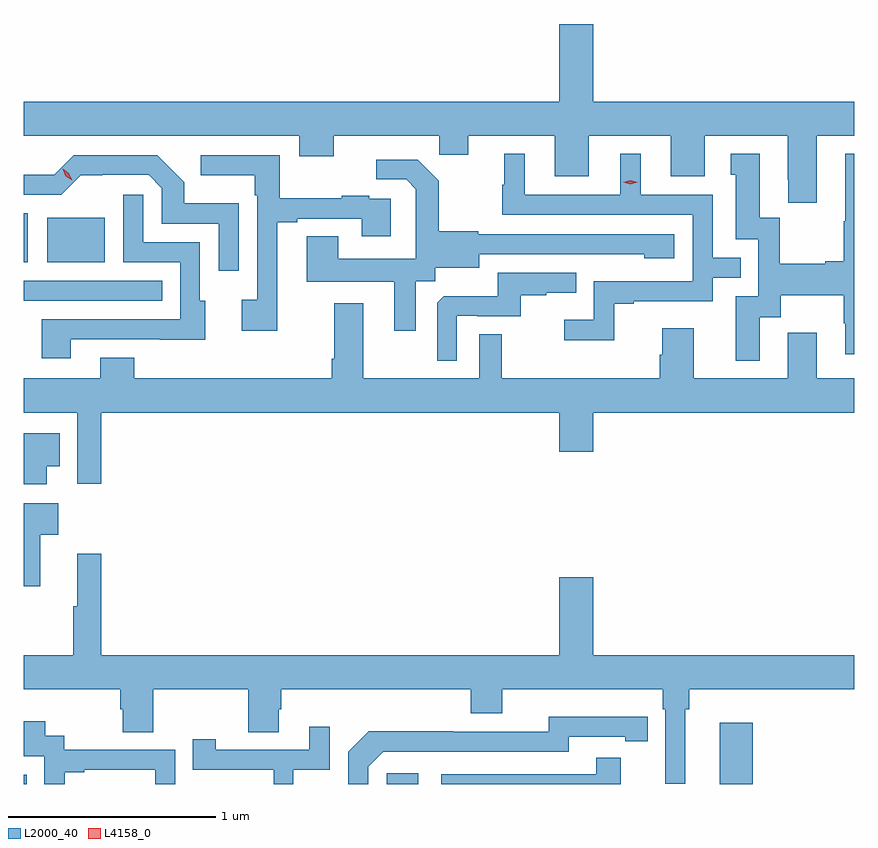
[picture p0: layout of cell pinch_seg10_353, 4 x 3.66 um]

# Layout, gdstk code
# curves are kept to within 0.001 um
import gdstk
lib = gdstk.Library(unit=1e-6, precision=1e-09)
def R(c, l, rs):  # rectangles x0, y0, x1, y1
    for r in rs: c.add(gdstk.rectangle(r[:2], r[2:], *l))
def P(c, l, *ps):  # polygons
    for p in ps: c.add(gdstk.Polygon(p, *l))
L2000_40 = (2000, 40)
L4158_0 = (4158, 0)

pinch_seg10_353 = lib.new_cell('pinch_seg10_353')
R(pinch_seg10_353, L2000_40, [(641.949,1273.219,641.963,1273.263), (643.698,1273.219,643.849,1273.27), (645.302,1273.219,645.461,1273.513), (641.949,1275.546,642.617,1275.642), (641.949,1275.731,641.968,1275.967), (642.062,1275.731,642.34,1275.946)])
P(pinch_seg10_353, L2000_40, [(645.769,1276.34),(645.949,1276.34),(645.949,1276.504),(644.692,1276.504),(644.692,1276.879),(644.528,1276.879),(644.528,1276.504),(641.949,1276.504),(641.949,1276.34),(643.277,1276.34),(643.277,1276.241),(643.441,1276.241),(643.441,1276.34),(643.951,1276.34),(643.951,1276.25),(644.089,1276.25),(644.089,1276.34),(644.507,1276.34),(644.507,1276.146),(644.671,1276.146),(644.671,1276.34),(645.065,1276.34),(645.065,1276.146),(645.229,1276.146),(645.229,1276.34),(645.629,1276.34),(645.629,1276.129),(645.632,1276.129),(645.632,1276.017),(645.769,1276.017)],
  [(644.793,1275.531),(644.887,1275.531),(644.887,1275.543),(645.267,1275.543),(645.267,1275.657),(645.401,1275.657),(645.401,1275.753),(645.267,1275.753),(645.267,1276.056),(644.92,1276.056),(644.92,1276.255),(644.822,1276.255),(644.822,1276.056),(644.362,1276.056),(644.362,1276.255),(644.264,1276.255),(644.264,1276.104),(644.253,1276.104),(644.253,1275.96),(645.171,1275.96),(645.171,1275.639),(644.694,1275.639),(644.694,1275.454),(644.553,1275.454),(644.553,1275.356),(644.793,1275.356)],
  [(645.493,1275.466),(645.595,1275.466),(645.595,1275.572),(645.898,1275.572),(645.898,1275.438),(645.905,1275.438),(645.905,1275.288),(645.949,1275.288),(645.949,1276.255),(645.905,1276.255),(645.905,1275.929),(645.898,1275.929),(645.898,1275.737),(645.809,1275.737),(645.809,1275.724),(645.591,1275.724),(645.591,1275.947),(645.493,1275.947),(645.493,1276.255),(645.353,1276.255),(645.353,1276.152),(645.377,1276.152),(645.377,1275.843),(645.486,1275.843),(645.486,1275.567),(645.377,1275.567),(645.377,1275.258),(645.493,1275.258)],
  [(642.984,1276.015),(642.723,1276.015),(642.723,1276.118),(642.592,1276.248),(642.189,1276.248),(642.095,1276.154),(641.949,1276.154),(641.949,1276.056),(642.129,1276.056),(642.224,1276.151),(642.552,1276.152),(642.615,1276.089),(642.615,1275.918),(642.888,1275.918),(642.888,1275.69),(642.984,1275.69)],
  [(643.171,1275.924),(643.267,1275.924),(643.267,1275.942),(643.577,1275.942),(643.577,1275.858),(643.717,1275.858),(643.717,1276.038),(643.613,1276.038),(643.613,1276.051),(643.481,1276.051),(643.481,1276.04),(643.183,1276.04),(643.183,1276.248),(642.801,1276.248),(642.801,1276.151),(643.062,1276.151),(643.062,1276.055),(643.074,1276.055),(643.074,1275.55),(642.999,1275.55),(642.999,1275.402),(643.171,1275.402)],
  [(643.837,1275.64),(643.932,1275.64),(643.932,1275.704),(644.143,1275.704),(644.143,1275.771),(644.937,1275.77),(644.937,1275.752),(645.082,1275.752),(645.082,1275.867),(644.139,1275.867),(644.139,1275.88),(643.947,1275.88),(643.947,1276.125),(643.847,1276.225),(643.647,1276.225),(643.647,1276.131),(643.791,1276.131),(643.838,1276.084),(643.838,1275.989),(643.836,1275.989),(643.836,1275.748),(643.465,1275.748),(643.465,1275.857),(643.313,1275.857),(643.313,1275.638),(643.733,1275.638),(643.733,1275.402),(643.837,1275.402)],
  [(642.175,1275.36),(642.605,1275.36),(642.605,1275.359),(642.823,1275.359),(642.823,1275.546),(642.798,1275.546),(642.798,1275.828),(642.525,1275.828),(642.525,1276.057),(642.429,1276.057),(642.429,1275.732),(642.702,1275.732),(642.702,1275.456),(642.035,1275.456),(642.035,1275.27),(642.175,1275.27)],
  [(644.034,1275.474),(644.134,1275.474),(644.134,1275.471),(644.342,1275.471),(644.342,1275.573),(644.465,1275.573),(644.465,1275.584),(644.609,1275.584),(644.609,1275.681),(644.232,1275.681),(644.232,1275.569),(643.973,1275.569),(643.941,1275.537),(643.941,1275.257),(644.034,1275.257)],
  [(644.251,1275.386),(644.142,1275.386),(644.142,1275.172),(643.585,1275.172),(643.585,1275.535),(643.445,1275.535),(643.445,1275.268),(643.433,1275.268),(643.433,1275.172),(642.481,1275.172),(642.481,1275.271),(642.317,1275.271),(642.317,1275.172),(641.949,1275.172),(641.949,1275.008),(642.207,1275.008),(642.207,1274.664),(642.323,1274.664),(642.323,1275.008),(644.528,1275.008),(644.528,1274.82),(644.692,1274.82),(644.692,1275.008),(645.949,1275.008),(645.949,1275.172),(645.769,1275.172),(645.769,1275.391),(645.629,1275.391),(645.629,1275.172),(645.175,1275.172),(645.175,1275.415),(645.023,1275.415),(645.023,1275.285),(645.011,1275.285),(645.011,1275.172),(644.251,1275.172)],
  [(642.061,1274.75),(642.122,1274.75),(642.122,1274.908),(641.949,1274.908),(641.949,1274.663),(642.061,1274.663)],
  [(642.029,1274.42),(642.115,1274.42),(642.115,1274.572),(641.949,1274.572),(641.949,1274.172),(642.029,1274.172)],
  [(645.136,1273.58),(645.155,1273.58),(645.155,1273.676),(645.949,1273.676),(645.949,1273.84),(644.692,1273.84),(644.692,1274.215),(644.528,1274.215),(644.528,1273.84),(642.323,1273.84),(642.323,1274.329),(642.206,1274.329),(642.206,1274.076),(642.187,1274.076),(642.187,1273.84),(641.949,1273.84),(641.949,1273.676),(642.413,1273.676),(642.413,1273.578),(642.425,1273.578),(642.425,1273.468),(642.573,1273.468),(642.573,1273.676),(643.03,1273.676),(643.03,1273.468),(643.177,1273.468),(643.177,1273.578),(643.19,1273.578),(643.19,1273.676),(644.102,1273.676),(644.102,1273.559),(644.254,1273.559),(644.254,1273.676),(645.026,1273.676),(645.026,1273.58),(645.039,1273.58),(645.039,1273.221),(645.136,1273.221)],
  [(643.608,1273.302),(643.68,1273.374),(644.574,1273.374),(644.574,1273.446),(644.846,1273.446),(644.846,1273.426),(644.954,1273.426),(644.954,1273.542),(644.478,1273.543),(644.478,1273.47),(644.018,1273.47),(644.018,1273.472),(643.61,1273.472),(643.512,1273.374),(643.512,1273.219),(643.608,1273.219)],
  [(642.146,1273.275),(642.241,1273.275),(642.241,1273.287),(642.582,1273.287),(642.582,1273.219),(642.678,1273.219),(642.678,1273.383),(642.144,1273.383),(642.144,1273.452),(642.052,1273.452),(642.052,1273.522),(641.949,1273.522),(641.949,1273.353),(642.048,1273.353),(642.048,1273.219),(642.146,1273.219)],
  [(643.248,1273.287),(643.422,1273.287),(643.422,1273.495),(643.325,1273.495),(643.325,1273.383),(642.874,1273.383),(642.874,1273.435),(642.763,1273.435),(642.763,1273.287),(643.152,1273.287),(643.152,1273.219),(643.248,1273.219)],
  [(644.825,1273.345),(644.707,1273.345),(644.707,1273.266),(643.959,1273.266),(643.959,1273.219),(644.825,1273.219)])
P(pinch_seg10_353, L4158_0, [(644.871,1276.107),(644.836,1276.117),(644.835,1276.117),(644.836,1276.118),(644.871,1276.127),(644.907,1276.118),(644.907,1276.117),(644.907,1276.117)],
  [(642.182,1276.126),(642.152,1276.147),(642.136,1276.182),(642.136,1276.182),(642.137,1276.182),(642.167,1276.16),(642.182,1276.126),(642.182,1276.126)])

lib.write_gds('pinch_seg10_353.gds')
